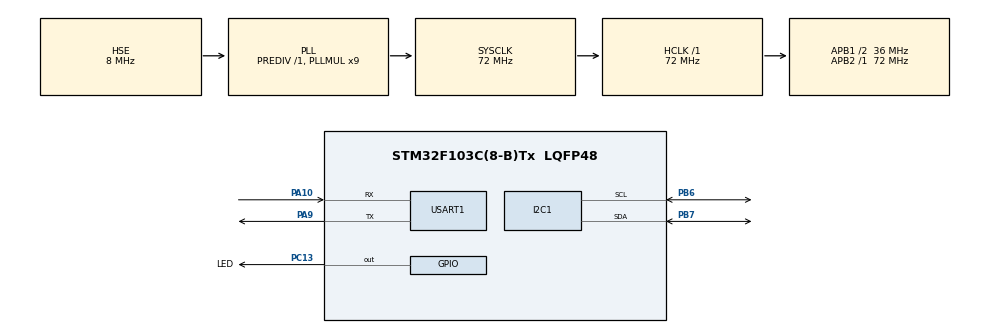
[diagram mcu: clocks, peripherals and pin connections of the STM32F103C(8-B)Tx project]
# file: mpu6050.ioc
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Mcu.Family=STM32F1
Mcu.Name=STM32F103C(8-B)Tx
Mcu.Package=LQFP48
NVIC.PriorityGroup=NVIC_PRIORITYGROUP_4
PA10.Mode=Asynchronous
PA10.Signal=USART1_RX
PA13.Mode=Serial_Wire
PA13.Signal=SYS_JTMS-SWDIO
PA14.Mode=Serial_Wire
PA14.Signal=SYS_JTCK-SWCLK
PA9.Mode=Asynchronous
PA9.Signal=USART1_TX
PB6.Mode=I2C
PB6.Signal=I2C1_SCL
PB7.Mode=I2C
PB7.Signal=I2C1_SDA
PC13-TAMPER-RTC.GPIO_Label=LED
PC13-TAMPER-RTC.PinState=GPIO_PIN_SET
PC13-TAMPER-RTC.Signal=GPIO_Output
PD0-OSC_IN.Mode=HSE-External-Oscillator
PD0-OSC_IN.Signal=RCC_OSC_IN
PD1-OSC_OUT.Mode=HSE-External-Oscillator
PD1-OSC_OUT.Signal=RCC_OSC_OUT
ProjectManager.HeapSize=0x200
ProjectManager.StackSize=0x400
ProjectManager.TargetToolchain=STM32CubeIDE
RCC.AHBFreq_Value=72000000
RCC.APB1CLKDivider=RCC_HCLK_DIV2
RCC.APB1Freq_Value=36000000
RCC.APB1TimFreq_Value=72000000
RCC.APB2Freq_Value=72000000
RCC.APB2TimFreq_Value=72000000
RCC.HCLKFreq_Value=72000000
RCC.PLLMUL=RCC_PLL_MUL9
RCC.PLLSourceVirtual=RCC_PLLSOURCE_HSE
RCC.SYSCLKFreq_VALUE=72000000
RCC.SYSCLKSource=RCC_SYSCLKSOURCE_PLLCLK
RCC.USBFreq_Value=72000000
USART1.VirtualMode=VM_ASYNC
board=custom

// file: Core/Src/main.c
/* USER CODE BEGIN Header */
/**
  ******************************************************************************
  * @file           : main.c
  * @brief          : Main program body
  ******************************************************************************
  * @attention
  *
  * Copyright (c) 2024 STMicroelectronics.
  * All rights reserved.
  *
  * This software is licensed under terms that can be found in the LICENSE file
  * in the root directory of this software component.
  * If no LICENSE file comes with this software, it is provided AS-IS.
  *
  ******************************************************************************
  */
/* USER CODE END Header */
#include "main.h"
#include "i2c.h"
#include "usart.h"
#include "gpio.h"

/* USER CODE BEGIN Includes */
#include <stdio.h>

#include "mpu6050.h"

/* USER CODE END Includes */

void SystemClock_Config(void);

/* USER CODE BEGIN 0 */

int __io_putchar(int ch)
{
  if (ch == '\n') {
    __io_putchar('\r');
  }

  HAL_UART_Transmit(&huart1, (uint8_t*)&ch, 1, HAL_MAX_DELAY);

  return 1;
}
/* USER CODE END 0 */

int main(void)
{

  /* MCU Configuration--------------------------------------------------------*/

  /* Reset of all peripherals, Initializes the Flash interface and the Systick. */
  HAL_Init();

  /* Configure the system clock */
  SystemClock_Config();

  /* Initialize all configured peripherals */
  MX_GPIO_Init();
  MX_I2C1_Init();
  MX_USART1_UART_Init();
  /* USER CODE BEGIN 2 */

  mpu6050_typedef mpu = mpu_init(&hi2c1, 0xD0);

  if(mpu_who_am_i(&mpu) != HAL_OK)
  {
	  while(1)
	  {
		  printf("Error while connecting to mpu 6050\n");
	  }
  }

  set_gyro_scale(&mpu, range_250);
  set_accelerometer_scale(&mpu, range_2g);
  mpu_low_pass_filter(&mpu, Acc94Hz_Gyro98Hz);
  HAL_Delay(1000);

  /* USER CODE END 2 */

  /* Infinite loop */
  /* USER CODE BEGIN WHILE */

  mpu_gyro_calibration(&mpu);

  while (1)
  {
	  mpu_calc_x_angle(&mpu);
	  mpu_calc_y_angle(&mpu);
	  printf("acc_x_angle: %f, x_angle: %f, acc_y_angle: %f, y_angle: %f, gx: %f\n", mpu_get_acc_x_angle(&mpu) * RAD2DEG, mpu.x_angle * RAD2DEG, mpu_get_acc_y_angle(&mpu) * RAD2DEG, mpu.y_angle * RAD2DEG, mpu.gx);
	  //printf("ax: %f, ay: %f, az: %f, gx: %f, gy: %f, gz: %f\n", mpu.ax, mpu.ay, mpu.az, mpu.gx, mpu.gy, mpu.gz);

	  HAL_Delay(5);

    /* USER CODE END WHILE */

  }
}

void SystemClock_Config(void)
{
  RCC_OscInitTypeDef RCC_OscInitStruct = {0};
  RCC_ClkInitTypeDef RCC_ClkInitStruct = {0};

  /** Initializes the RCC Oscillators according to the specified parameters
  * in the RCC_OscInitTypeDef structure.
  */
  RCC_OscInitStruct.OscillatorType = RCC_OSCILLATORTYPE_HSE;
  RCC_OscInitStruct.HSEState = RCC_HSE_ON;
  RCC_OscInitStruct.HSEPredivValue = RCC_HSE_PREDIV_DIV1;
  RCC_OscInitStruct.HSIState = RCC_HSI_ON;
  RCC_OscInitStruct.PLL.PLLState = RCC_PLL_ON;
  RCC_OscInitStruct.PLL.PLLSource = RCC_PLLSOURCE_HSE;
  RCC_OscInitStruct.PLL.PLLMUL = RCC_PLL_MUL9;
  if (HAL_RCC_OscConfig(&RCC_OscInitStruct) != HAL_OK)
  {
    Error_Handler();
  }

  /** Initializes the CPU, AHB and APB buses clocks
  */
  RCC_ClkInitStruct.ClockType = RCC_CLOCKTYPE_HCLK|RCC_CLOCKTYPE_SYSCLK
                              |RCC_CLOCKTYPE_PCLK1|RCC_CLOCKTYPE_PCLK2;
  RCC_ClkInitStruct.SYSCLKSource = RCC_SYSCLKSOURCE_PLLCLK;
  RCC_ClkInitStruct.AHBCLKDivider = RCC_SYSCLK_DIV1;
  RCC_ClkInitStruct.APB1CLKDivider = RCC_HCLK_DIV2;
  RCC_ClkInitStruct.APB2CLKDivider = RCC_HCLK_DIV1;

  if (HAL_RCC_ClockConfig(&RCC_ClkInitStruct, FLASH_LATENCY_2) != HAL_OK)
  {
    Error_Handler();
  }
}

void Error_Handler(void)
{
  __disable_irq();
  while (1)
  {
  }
}
